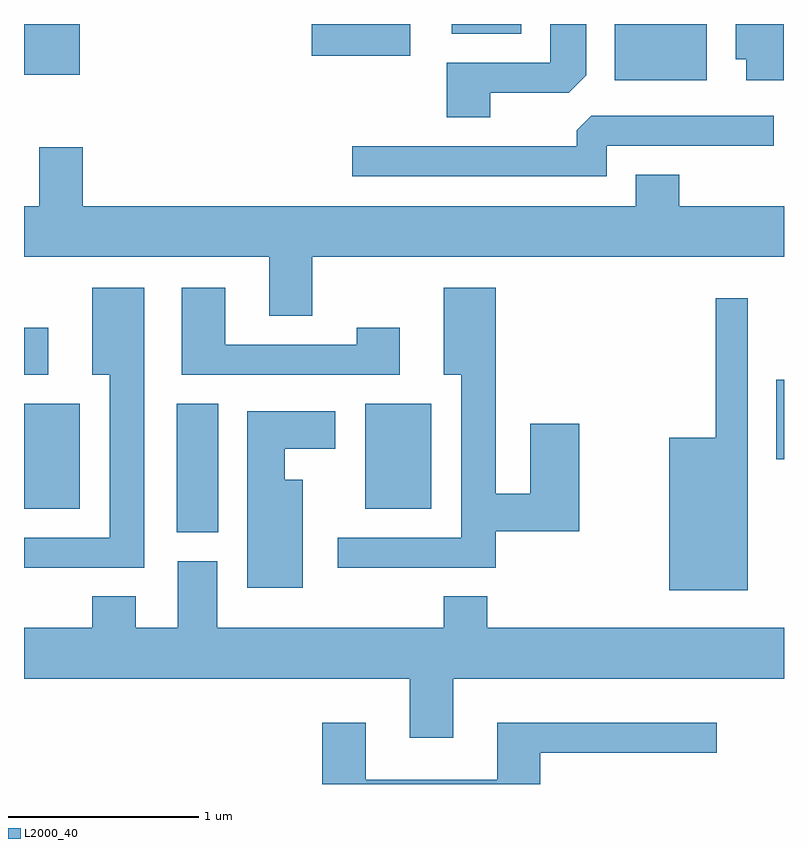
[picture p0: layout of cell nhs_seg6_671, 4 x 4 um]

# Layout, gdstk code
import gdstk
lib = gdstk.Library(unit=1e-6, precision=1e-09)
def R(c, l, rs):  # rectangles x0, y0, x1, y1
    for r in rs: c.add(gdstk.rectangle(r[:2], r[2:], *l))
def P(c, l, *ps):  # polygons
    for p in ps: c.add(gdstk.Polygon(p, *l))
L2000_40 = (2000, 40)

nhs_seg6_671 = lib.new_cell('nhs_seg6_671')
R(nhs_seg6_671, L2000_40, [(206.416,1537.486,206.634,1538.164), (205.611,1537.611,205.904,1538.164), (207.406,1537.611,207.754,1538.164), (209.571,1537.871,209.611,1538.289), (205.611,1538.316,205.739,1538.564), (208.721,1539.866,209.204,1540.162), (205.611,1539.896,205.904,1540.162), (207.126,1539.996,207.644,1540.162), (207.861,1540.111,208.229,1540.162)])
P(nhs_seg6_671, L2000_40, [(209.609,1540.162),(209.356,1540.162),(209.356,1539.976),(209.411,1539.976),(209.411,1539.866),(209.609,1539.866)],
  [(208.064,1539.801),(208.479,1539.801),(208.569,1539.892),(208.569,1540.162),(208.381,1540.162),(208.381,1539.959),(207.836,1539.959),(207.836,1539.671),(208.064,1539.671)],
  [(208.679,1539.521),(209.558,1539.521),(209.558,1539.679),(208.597,1539.679),(208.521,1539.604),(208.521,1539.519),(207.338,1539.519),(207.338,1539.361),(208.679,1539.361)],
  [(207.129,1538.936),(209.611,1538.936),(209.611,1539.204),(209.059,1539.204),(209.059,1539.369),(208.831,1539.369),(208.831,1539.204),(205.919,1539.204),(205.919,1539.514),(205.691,1539.514),(205.691,1539.204),(205.611,1539.204),(205.611,1538.936),(206.901,1538.936),(206.901,1538.626),(207.129,1538.626)],
  [(206.244,1538.774),(205.971,1538.774),(205.971,1538.316),(206.061,1538.316),(206.061,1537.459),(205.611,1537.459),(205.611,1537.301),(206.244,1537.301)],
  [(208.094,1537.491),(208.534,1537.491),(208.534,1538.059),(208.276,1538.059),(208.276,1537.689),(208.094,1537.689),(208.094,1538.774),(207.821,1538.774),(207.821,1538.316),(207.911,1538.316),(207.911,1537.459),(207.263,1537.459),(207.263,1537.301),(208.094,1537.301)],
  [(207.589,1538.564),(207.361,1538.564),(207.361,1538.474),(206.669,1538.474),(206.669,1538.774),(206.441,1538.774),(206.441,1538.316),(207.589,1538.316)],
  [(209.419,1538.718),(209.251,1538.718),(209.251,1537.984),(209.006,1537.984),(209.006,1537.181),(209.419,1537.181)],
  [(207.079,1537.764),(206.984,1537.764),(206.984,1537.926),(207.249,1537.926),(207.249,1538.124),(206.786,1538.124),(206.786,1537.196),(207.079,1537.196)],
  [(207.869,1536.716),(209.611,1536.716),(209.611,1536.984),(208.049,1536.984),(208.049,1537.149),(207.821,1537.149),(207.821,1536.984),(206.629,1536.984),(206.629,1537.334),(206.421,1537.334),(206.421,1536.984),(206.199,1536.984),(206.199,1537.149),(205.971,1537.149),(205.971,1536.984),(205.611,1536.984),(205.611,1536.716),(207.641,1536.716),(207.641,1536.406),(207.869,1536.406)],
  [(208.329,1536.326),(209.258,1536.326),(209.258,1536.484),(208.101,1536.484),(208.101,1536.184),(207.409,1536.184),(207.409,1536.484),(207.181,1536.484),(207.181,1536.162),(208.329,1536.162)])

lib.write_gds('nhs_seg6_671.gds')
